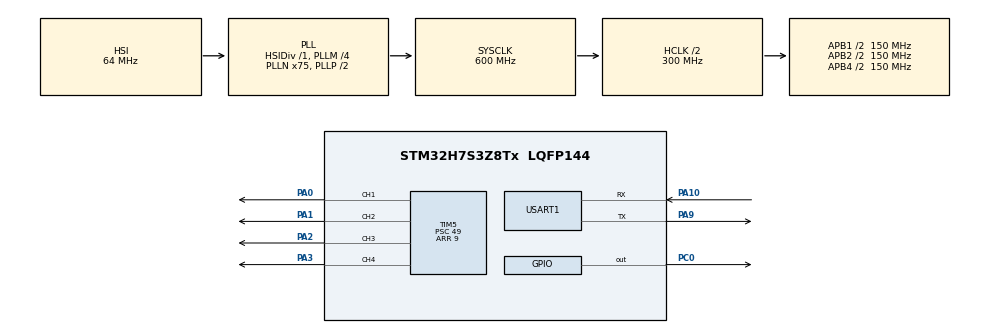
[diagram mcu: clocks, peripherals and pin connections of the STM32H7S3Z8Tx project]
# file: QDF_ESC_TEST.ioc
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Appli.IPs=CORTEX_M7_APPLI\:I,GPDMA1,GPIO,HPDMA1,LINKEDLIST,NVIC2\:I,RCC
Boot.IPs=CORTEX_M7_BOOT\:I,GPDMA1\:I,GPIO,HPDMA1\:I,LINKEDLIST\:I,NVIC1\:I,RCC\:I,MEMORYMAP\:I,TIM5,SBS,TIM16,USART1,SYS,STMicroelectronics.X-CUBE-ALGOBUILD.1.4.0_Boot\:I,TIM17,TIM14
Boot.Pins=PC0
CORTEX_M7_APPLI.default_mode_Activation=1
CORTEX_M7_BOOT.AccessPermission_S-Cortex_Memory_Protection_Unit_Region1_Settings_S=MPU_REGION_FULL_ACCESS
CORTEX_M7_BOOT.BaseAddress_S-Cortex_Memory_Protection_Unit_Region1_Settings_S=0x24071C00
CORTEX_M7_BOOT.CPU_DCache=Enabled
CORTEX_M7_BOOT.CPU_ICache=Enabled
CORTEX_M7_BOOT.DisableExec_S-Cortex_Memory_Protection_Unit_Region1_Settings_S=MPU_INSTRUCTION_ACCESS_DISABLE
CORTEX_M7_BOOT.Enable_S-Cortex_Memory_Protection_Unit_Region1_Settings_S=MPU_REGION_ENABLE
CORTEX_M7_BOOT.IsBufferable_Spec=MPU_ACCESS_BUFFERABLE
CORTEX_M7_BOOT.IsCacheable_Spec=MPU_ACCESS_CACHEABLE
CORTEX_M7_BOOT.Size_S-Cortex_Memory_Protection_Unit_Region1_Settings_S=MPU_REGION_SIZE_1KB
CORTEX_M7_BOOT.TypeExtField_S-Cortex_Memory_Protection_Unit_Region1_Settings_S=MPU_TEX_LEVEL1
CORTEX_M7_BOOT.default_mode_Activation=1
ExtMemLoader.IPs=EXTMEM_LOADER\:I,EXTMEM_MANAGER\:I,GPDMA1,GPIO\:I,HPDMA1,LINKEDLIST
GPDMA1.DESTINC_GPDMACH11=DMA_DINC_INCREMENTED
GPDMA1.IPHANDLE_GPDMACH11-SIMPLEREQUEST_GPDMACH11=__NULL
GPDMA1.LINKEDLISTMODE_GPDMACH0=DMA_LINKEDLIST_NORMAL
GPDMA1.LINKEDLISTMODE_GPDMACH1=DMA_LINKEDLIST_NORMAL
GPDMA1.LINKEDLISTMODE_GPDMACH2=DMA_LINKEDLIST_NORMAL
GPDMA1.LINKEDLISTMODE_GPDMACH3=DMA_LINKEDLIST_NORMAL
GPDMA1.PRIORITY_LL_GPDMACH0=DMA_HIGH_PRIORITY
GPDMA1.PRIORITY_LL_GPDMACH1=DMA_HIGH_PRIORITY
GPDMA1.PRIORITY_LL_GPDMACH2=DMA_HIGH_PRIORITY
GPDMA1.PRIORITY_LL_GPDMACH3=DMA_HIGH_PRIORITY
GPDMA1.REQUEST_GPDMACH11=GPDMA1_REQUEST_USART1_RX
GPDMA1.TRANSFERALLOCATEDPORTDEST_GPDMACH11=DMA_DEST_ALLOCATED_PORT1
GPDMA1.TRANSFERALLOCATEDPORTSRC_GPDMACH11=DMA_SRC_ALLOCATED_PORT1
GPDMA1.TRANSFEREVENTMODE_LL_GPDMACH3=DMA_TCEM_LAST_LL_ITEM_TRANSFER
Mcu.Family=STM32H7
Mcu.Name=STM32H7S3Z8Tx
Mcu.Package=LQFP144
NVIC1.GPDMA1_Channel0_IRQn=true\:0\:0\:false\:false\:true\:true\:true\:true
NVIC1.GPDMA1_Channel11_IRQn=true\:0\:0\:false\:false\:true\:false\:true\:true
NVIC1.GPDMA1_Channel1_IRQn=true\:0\:0\:false\:false\:true\:true\:true\:true
NVIC1.GPDMA1_Channel2_IRQn=true\:0\:0\:false\:false\:true\:true\:true\:true
NVIC1.GPDMA1_Channel3_IRQn=true\:0\:0\:false\:false\:true\:true\:true\:true
NVIC1.PriorityGroup=NVIC_PRIORITYGROUP_4
NVIC1.TIM14_IRQn=true\:0\:0\:false\:false\:true\:true\:true\:true
NVIC1.TIM16_IRQn=true\:2\:0\:true\:false\:true\:true\:true\:true
NVIC1.TIM17_IRQn=true\:1\:0\:true\:false\:true\:true\:true\:true
NVIC2.PriorityGroup=NVIC_PRIORITYGROUP_4
PA0.GPIO_PuPd=GPIO_NOPULL
PA0.GPIO_Speed=GPIO_SPEED_FREQ_VERY_HIGH
PA0.PinAttribute=Boot
PA0.Signal=S_TIM5_CH1
PA1.GPIO_PuPd=GPIO_NOPULL
PA1.GPIO_Speed=GPIO_SPEED_FREQ_VERY_HIGH
PA1.PinAttribute=Boot
PA1.Signal=S_TIM5_CH2
PA10.Mode=Asynchronous
PA10.PinAttribute=Boot
PA10.Signal=USART1_RX
PA2.GPIO_PuPd=GPIO_NOPULL
PA2.GPIO_Speed=GPIO_SPEED_FREQ_VERY_HIGH
PA2.PinAttribute=Boot
PA2.Signal=S_TIM5_CH3
PA3.GPIO_PuPd=GPIO_NOPULL
PA3.GPIO_Speed=GPIO_SPEED_FREQ_VERY_HIGH
PA3.PinAttribute=Boot
PA3.Signal=S_TIM5_CH4
PA9.Mode=Asynchronous
PA9.PinAttribute=Boot
PA9.Signal=USART1_TX
PC0.PinAttribute=Boot
PC0.Signal=GPIO_Output
PH0-OSC_IN(PH0).Mode=HSE-External-Clock-Source
PH0-OSC_IN(PH0).Signal=RCC_OSC_IN
ProjectManager.HeapSize=App-0x200,Boot-0x200,ExtMemLoader-0x200
ProjectManager.StackSize=App-0x400,Boot-0x400,ExtMemLoader-0x400
ProjectManager.TargetToolchain=STM32CubeIDE
RCC.ADCFreq_Value=256000000
RCC.APB1Freq_Value=150000000
RCC.APB2Freq_Value=150000000
RCC.APB4Freq_Value=150000000
RCC.BMPRE=RCC_HCLK_DIV2
RCC.CortexFreq_Value=600000000
RCC.DIVM1=4
RCC.DIVN1=75
RCC.DIVN2=256
RCC.HCLKFreq_Value=300000000
RCC.HSE_VALUE=32000000
RCC.PLL2FRACN=0
RCC.PLL2_VCI_Range-AdvancedSettings=RCC_PLL_VCOINPUT_RANGE0
RCC.PLL3FRACN=0
RCC.PLLFRACN=0
RCC.PPRE1=RCC_APB1_DIV2
RCC.PPRE2=RCC_APB2_DIV2
RCC.PPRE4=RCC_APB4_DIV2
RCC.PPRE5=RCC_APB5_DIV2
RCC.SYSCLKFreq_VALUE=600000000
RCC.SYSCLKSource=RCC_SYSCLKSOURCE_PLLCLK
SBS.IO_OTHER=Enable
SH.S_TIM5_CH1.0=TIM5_CH1,PWM Generation1 CH1
SH.S_TIM5_CH2.0=TIM5_CH2,PWM Generation2 CH2
SH.S_TIM5_CH3.0=TIM5_CH3,PWM Generation3 CH3
SH.S_TIM5_CH4.0=TIM5_CH4,PWM Generation4 CH4
STMicroelectronics.X-CUBE-ALGOBUILD.1.4.0_Boot.LibraryCcDSPOoLibraryJjDSPOoLibrary=true
TIM14.PeriodNoDither=29999
TIM14.Prescaler=9999
TIM16.AutoReloadPreload=TIM_AUTORELOAD_PRELOAD_ENABLE
TIM16.PeriodNoDither=37499
TIM16.Prescaler=7
TIM17.AutoReloadPreload=TIM_AUTORELOAD_PRELOAD_ENABLE
TIM17.PeriodNoDither=23999
TIM17.Prescaler=0
TIM5.AutoReloadPreload=TIM_AUTORELOAD_PRELOAD_DISABLE
TIM5.Channel-PWM\ Generation1\ CH1=TIM_CHANNEL_1
TIM5.Channel-PWM\ Generation2\ CH2=TIM_CHANNEL_2
TIM5.Channel-PWM\ Generation3\ CH3=TIM_CHANNEL_3
TIM5.Channel-PWM\ Generation4\ CH4=TIM_CHANNEL_4
TIM5.Dithering=Disable
TIM5.OCFastMode_PWM-PWM\ Generation1\ CH1=TIM_OCFAST_DISABLE
TIM5.OCFastMode_PWM-PWM\ Generation2\ CH2=TIM_OCFAST_DISABLE
TIM5.OCFastMode_PWM-PWM\ Generation3\ CH3=TIM_OCFAST_DISABLE
TIM5.OCFastMode_PWM-PWM\ Generation4\ CH4=TIM_OCFAST_DISABLE
TIM5.OCMode_PWM-PWM\ Generation1\ CH1=TIM_OCMODE_PWM1
TIM5.OCMode_PWM-PWM\ Generation2\ CH2=TIM_OCMODE_PWM1
TIM5.OCMode_PWM-PWM\ Generation3\ CH3=TIM_OCMODE_PWM1
TIM5.OCMode_PWM-PWM\ Generation4\ CH4=TIM_OCMODE_PWM1
TIM5.OCPolarity_1=TIM_OCPOLARITY_HIGH
TIM5.OCPolarity_2=TIM_OCPOLARITY_HIGH
TIM5.OCPolarity_3=TIM_OCPOLARITY_HIGH
TIM5.OCPolarity_4=TIM_OCPOLARITY_HIGH
TIM5.PeriodNoDither=9
TIM5.Prescaler=49
USART1.VirtualMode-Asynchronous=VM_ASYNC
VP_GPDMA1_VS_GPDMACH0.Mode=LINKEDLIST_GPDMACH0
VP_GPDMA1_VS_GPDMACH1.Mode=LINKEDLIST_GPDMACH1
VP_GPDMA1_VS_GPDMACH11.Mode=SIMPLEREQUEST_GPDMACH11
VP_GPDMA1_VS_GPDMACH2.Mode=LINKEDLIST_GPDMACH2
VP_GPDMA1_VS_GPDMACH3.Mode=LINKEDLIST_GPDMACH3
VP_MEMORYMAP_VS_MEMORYMAP.Mode=CurAppReg
VP_SBS_VS-SBS.Mode=SBS
VP_STMicroelectronics.X-CUBE-ALGOBUILD_Boot_VS_DSPOoLibraryJjLibrary_1.4.0_1.4.0.Mode=DSPOoLibraryJjLibrary
VP_TIM14_VS_ClockSourceINT.Mode=Enable_Timer
VP_TIM16_VS_ClockSourceINT.Mode=Enable_Timer
VP_TIM17_VS_ClockSourceINT.Mode=Enable_Timer
board=custom

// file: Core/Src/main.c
/* USER CODE BEGIN Header */
/**
  ******************************************************************************
  * @file           : main.c
  * @brief          : Main program body
  ******************************************************************************
  * @attention
  *
  * Copyright (c) 2026 STMicroelectronics.
  * All rights reserved.
  *
  * This software is licensed under terms that can be found in the LICENSE file
  * in the root directory of this software component.
  * If no LICENSE file comes with this software, it is provided AS-IS.
  *
  ******************************************************************************
  */
/* USER CODE END Header */
#include "main.h"
#include "gpdma.h"
#include "sbs.h"
#include "tim.h"
#include "usart.h"
#include "gpio.h"

/* USER CODE BEGIN Includes */
#include "ESC.h"
/* USER CODE END Includes */

/* USER CODE BEGIN PV */
uint16_t Throttle_all[4] = {0, 0, 0, 0};

volatile uint8_t esc_ready = 0;

volatile uint16_t stop = 0;

volatile uint32_t cycles = 0;
volatile uint32_t start_cnt = 0;
volatile uint64_t total_cycles = 0;
volatile float cpu_usage = 0;
/* USER CODE END PV */

void SystemClock_Config(void);
static void MPU_Config(void);

int main(void)
{

  /* MPU Configuration--------------------------------------------------------*/
  MPU_Config();

  /* Enable the CPU Cache */

  /* Enable I-Cache---------------------------------------------------------*/
  SCB_EnableICache();

  /* Enable D-Cache---------------------------------------------------------*/
  SCB_EnableDCache();

  /* MCU Configuration--------------------------------------------------------*/

  /* Reset of all peripherals, Initializes the Flash interface and the Systick. */
  HAL_Init();

  /* Configure the system clock */
  SystemClock_Config();

  /* Initialize all configured peripherals */
  MX_GPIO_Init();
  MX_GPDMA1_Init();
  MX_TIM5_Init();
  MX_SBS_Init();
  MX_TIM16_Init();
  MX_USART1_UART_Init();
  MX_TIM17_Init();
  MX_TIM14_Init();
  /* USER CODE BEGIN 2 */

  ESC_Init(1);
  esc_ready = 1;

  CoreDebug->DEMCR |= CoreDebug_DEMCR_TRCENA_Msk;
  DWT->LAR = 0xC5ACCE55;
  DWT->CYCCNT = 0;
  DWT->CTRL |= DWT_CTRL_CYCCNTENA_Msk;

  HAL_TIM_Base_Start_IT(&htim14);

  int8_t dir = 1;
  /* USER CODE END 2 */

  /* Infinite loop */
  /* USER CODE BEGIN WHILE */
  while (1)
  {
	  if (stop) {
		  Throttle_all[0] = stop - 1;
		  Throttle_all[1] = Throttle_all[0];
		  Throttle_all[2] = Throttle_all[0];
		  Throttle_all[3] = Throttle_all[0];

		  continue;
	  }
	  dir = Throttle_all[0] > 500 ? -1 : Throttle_all[0] < 100 ? 1 : dir;
	  Throttle_all[0] += dir * 10;
	  Throttle_all[1] = Throttle_all[0];
	  Throttle_all[2] = Throttle_all[0];
	  Throttle_all[3] = Throttle_all[0];

	  HAL_Delay(100);

    /* USER CODE END WHILE */

  }
}

void SystemClock_Config(void)
{
  RCC_OscInitTypeDef RCC_OscInitStruct = {0};
  RCC_ClkInitTypeDef RCC_ClkInitStruct = {0};

  /** Configure the main internal regulator output voltage
  */
  if (HAL_PWREx_ControlVoltageScaling(PWR_REGULATOR_VOLTAGE_SCALE0) != HAL_OK)
  {
    Error_Handler();
  }

  /** Initializes the RCC Oscillators according to the specified parameters
  * in the RCC_OscInitTypeDef structure.
  */
  RCC_OscInitStruct.OscillatorType = RCC_OSCILLATORTYPE_HSI;
  RCC_OscInitStruct.HSIState = RCC_HSI_ON;
  RCC_OscInitStruct.HSIDiv = RCC_HSI_DIV1;
  RCC_OscInitStruct.HSICalibrationValue = RCC_HSICALIBRATION_DEFAULT;
  RCC_OscInitStruct.PLL1.PLLState = RCC_PLL_ON;
  RCC_OscInitStruct.PLL1.PLLSource = RCC_PLLSOURCE_HSI;
  RCC_OscInitStruct.PLL1.PLLM = 4;
  RCC_OscInitStruct.PLL1.PLLN = 75;
  RCC_OscInitStruct.PLL1.PLLP = 2;
  RCC_OscInitStruct.PLL1.PLLQ = 2;
  RCC_OscInitStruct.PLL1.PLLR = 2;
  RCC_OscInitStruct.PLL1.PLLS = 2;
  RCC_OscInitStruct.PLL1.PLLT = 2;
  RCC_OscInitStruct.PLL1.PLLFractional = 0;
  RCC_OscInitStruct.PLL2.PLLState = RCC_PLL_NONE;
  RCC_OscInitStruct.PLL3.PLLState = RCC_PLL_NONE;
  if (HAL_RCC_OscConfig(&RCC_OscInitStruct) != HAL_OK)
  {
    Error_Handler();
  }

  /** Initializes the CPU, AHB and APB buses clocks
  */
  RCC_ClkInitStruct.ClockType = RCC_CLOCKTYPE_HCLK|RCC_CLOCKTYPE_SYSCLK
                              |RCC_CLOCKTYPE_PCLK1|RCC_CLOCKTYPE_PCLK2
                              |RCC_CLOCKTYPE_PCLK4|RCC_CLOCKTYPE_PCLK5;
  RCC_ClkInitStruct.SYSCLKSource = RCC_SYSCLKSOURCE_PLLCLK;
  RCC_ClkInitStruct.SYSCLKDivider = RCC_SYSCLK_DIV1;
  RCC_ClkInitStruct.AHBCLKDivider = RCC_HCLK_DIV2;
  RCC_ClkInitStruct.APB1CLKDivider = RCC_APB1_DIV2;
  RCC_ClkInitStruct.APB2CLKDivider = RCC_APB2_DIV2;
  RCC_ClkInitStruct.APB4CLKDivider = RCC_APB4_DIV2;
  RCC_ClkInitStruct.APB5CLKDivider = RCC_APB5_DIV2;

  if (HAL_RCC_ClockConfig(&RCC_ClkInitStruct, FLASH_LATENCY_7) != HAL_OK)
  {
    Error_Handler();
  }
}

/* USER CODE BEGIN 4 */
void HAL_TIM_PeriodElapsedCallback (TIM_HandleTypeDef *htim) {
	if (htim == &htim14) {
		cpu_usage = ((float)total_cycles / 600000000.0f) * 100.0f;
		total_cycles = 0;
	}

	//start_cnt = DWT->CYCCNT;
	if (htim == &htim16) {
		// 0.35 % cpu usage
		if (esc_ready) {
			ESC_EngineSetSpeedForAll(Throttle_all, 1);
		} else {
			ESC_SetFlagForInit();
		}
	}

	if (htim == &htim17) {
		// 0.9 % cpu usage
		ESC_BidirectionalTelemetryHandling(EVENT_DATA_RECIEVED);
	}
//	cycles = DWT->CYCCNT - start_cnt;
//	total_cycles += cycles;
}

void HAL_UART_RxCpltCallback (UART_HandleTypeDef *huart) {
	//start_cnt = DWT->CYCCNT;
	if (huart == &huart1) {
		// 0.06% cpu usage, NOTHING
		ESC_TelemetryHandling(EVENT_USART_RX);
	}
//	cycles = DWT->CYCCNT - start_cnt;
//	total_cycles += cycles;
}

/* USER CODE END 4 */

 /* MPU Configuration */

static void MPU_Config(void)
{
  MPU_Region_InitTypeDef MPU_InitStruct = {0};

  /* Disables the MPU */
  HAL_MPU_Disable();

  /** Initializes and configures the Region and the memory to be protected
  */
  MPU_InitStruct.Enable = MPU_REGION_ENABLE;
  MPU_InitStruct.Number = MPU_REGION_NUMBER0;
  MPU_InitStruct.BaseAddress = 0x0;
  MPU_InitStruct.Size = MPU_REGION_SIZE_4GB;
  MPU_InitStruct.SubRegionDisable = 0x87;
  MPU_InitStruct.TypeExtField = MPU_TEX_LEVEL0;
  MPU_InitStruct.AccessPermission = MPU_REGION_NO_ACCESS;
  MPU_InitStruct.DisableExec = MPU_INSTRUCTION_ACCESS_DISABLE;
  MPU_InitStruct.IsShareable = MPU_ACCESS_SHAREABLE;
  MPU_InitStruct.IsCacheable = MPU_ACCESS_CACHEABLE;
  MPU_InitStruct.IsBufferable = MPU_ACCESS_BUFFERABLE;

  HAL_MPU_ConfigRegion(&MPU_InitStruct);

  /** Initializes and configures the Region and the memory to be protected
  */
  MPU_InitStruct.Number = MPU_REGION_NUMBER1;
  MPU_InitStruct.BaseAddress = 0x24071C00;
  MPU_InitStruct.Size = MPU_REGION_SIZE_1KB;
  MPU_InitStruct.SubRegionDisable = 0x0;
  MPU_InitStruct.TypeExtField = MPU_TEX_LEVEL1;
  MPU_InitStruct.AccessPermission = MPU_REGION_FULL_ACCESS;
  MPU_InitStruct.IsShareable = MPU_ACCESS_NOT_SHAREABLE;
  MPU_InitStruct.IsCacheable = MPU_ACCESS_NOT_CACHEABLE;
  MPU_InitStruct.IsBufferable = MPU_ACCESS_NOT_BUFFERABLE;

  HAL_MPU_ConfigRegion(&MPU_InitStruct);
  /* Enables the MPU */
  HAL_MPU_Enable(MPU_PRIVILEGED_DEFAULT);

}

void Error_Handler(void)
{
  __disable_irq();
  while (1)
  {
  }
}
